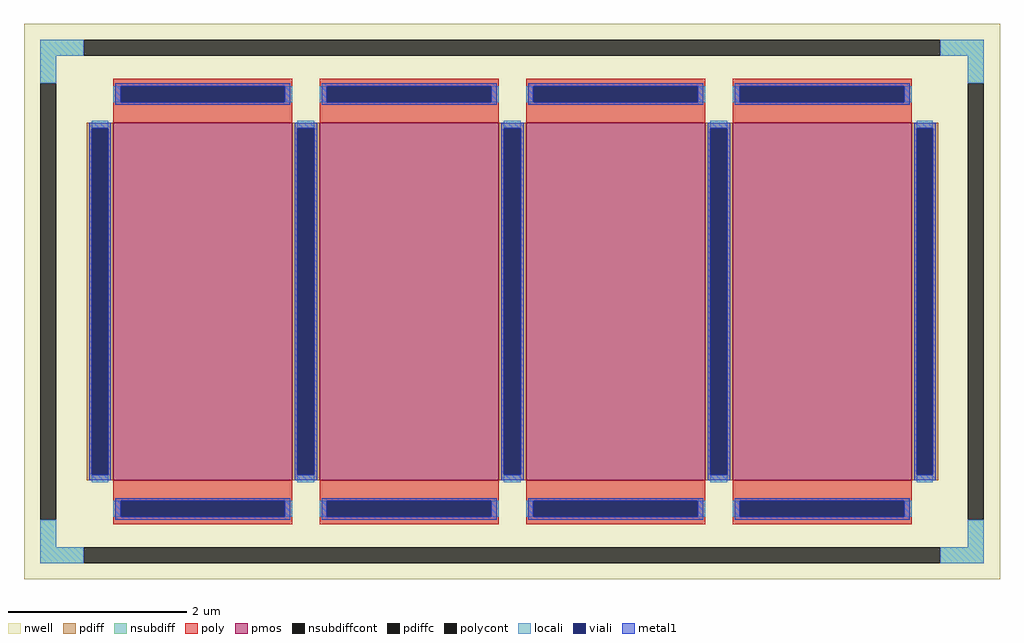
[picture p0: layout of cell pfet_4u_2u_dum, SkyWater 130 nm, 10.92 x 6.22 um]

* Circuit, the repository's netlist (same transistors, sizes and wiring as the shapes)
* NGSPICE file created from pfet_4u_2u_dum.ext - technology: sky130A

.subckt pfet_4u_2u_dum
X0 a_n246_n200# a_n446_n249# a_n476_n200# w_n546_n311# sky130_fd_pr__pfet_01v8 ad=0.62 pd=4.31 as=1.2 ps=8.6 w=4 l=2
X1 a_447_n200# a_247_n249# a_216_n200# w_n546_n311# sky130_fd_pr__pfet_01v8 ad=1.2 pd=8.6 as=0.62 ps=4.31 w=4 l=2
X2 a_216_n200# a_16_n249# a_n15_n200# w_n546_n311# sky130_fd_pr__pfet_01v8 ad=0.62 pd=4.31 as=0.62 ps=4.31 w=4 l=2
X3 a_n15_n200# a_n215_n249# a_n246_n200# w_n546_n311# sky130_fd_pr__pfet_01v8 ad=0.62 pd=4.31 as=0.62 ps=4.31 w=4 l=2
.ends

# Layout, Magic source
magic
tech sky130A
<< nwell >>
rect -546 -311 546 311
<< pmos >>
rect -446 -200 -246 200
rect -215 -200 -15 200
rect 16 -200 216 200
rect 247 -200 447 200
<< pdiff >>
rect -476 194 -446 200
rect -476 -194 -470 194
rect -452 -194 -446 194
rect -476 -200 -446 -194
rect -246 194 -215 200
rect -246 -194 -240 194
rect -221 -194 -215 194
rect -246 -200 -215 -194
rect -15 194 16 200
rect -15 -194 -9 194
rect 10 -194 16 194
rect -15 -200 16 -194
rect 216 194 247 200
rect 216 -194 222 194
rect 241 -194 247 194
rect 216 -200 247 -194
rect 447 194 477 200
rect 447 -194 453 194
rect 471 -194 477 194
rect 447 -200 477 -194
<< pdiffc >>
rect -470 -194 -452 194
rect -240 -194 -221 194
rect -9 -194 10 194
rect 222 -194 241 194
rect 453 -194 471 194
<< nsubdiff >>
rect -528 275 -479 293
rect 479 275 528 293
rect -528 244 -510 275
rect 510 244 528 275
rect -528 -275 -510 -244
rect 510 -275 528 -244
rect -528 -293 -479 -275
rect 479 -293 528 -275
<< nsubdiffcont >>
rect -479 275 479 293
rect -528 -244 -510 244
rect 510 -244 528 244
rect -479 -293 479 -275
<< poly >>
rect -446 241 -246 249
rect -446 223 -438 241
rect -254 223 -246 241
rect -446 200 -246 223
rect -215 241 -15 249
rect -215 223 -207 241
rect -23 223 -15 241
rect -215 200 -15 223
rect 16 241 216 249
rect 16 223 24 241
rect 208 223 216 241
rect 16 200 216 223
rect 247 241 447 249
rect 247 223 255 241
rect 439 223 447 241
rect 247 200 447 223
rect -446 -223 -246 -200
rect -446 -241 -438 -223
rect -254 -241 -246 -223
rect -446 -249 -246 -241
rect -215 -223 -15 -200
rect -215 -241 -207 -223
rect -23 -241 -15 -223
rect -215 -249 -15 -241
rect 16 -223 216 -200
rect 16 -241 24 -223
rect 208 -241 216 -223
rect 16 -249 216 -241
rect 247 -223 447 -200
rect 247 -241 255 -223
rect 439 -241 447 -223
rect 247 -249 447 -241
<< polycont >>
rect -438 223 -254 241
rect -207 223 -23 241
rect 24 223 208 241
rect 255 223 439 241
rect -438 -241 -254 -223
rect -207 -241 -23 -223
rect 24 -241 208 -223
rect 255 -241 439 -223
<< locali >>
rect -528 275 -479 293
rect 479 275 528 293
rect -528 244 -510 275
rect 510 244 528 275
rect -446 223 -438 241
rect -254 223 -246 241
rect -215 223 -207 241
rect -23 223 -15 241
rect 16 223 24 241
rect 208 223 216 241
rect 247 223 255 241
rect 439 223 447 241
rect -470 194 -452 202
rect -470 -202 -452 -194
rect -240 194 -221 202
rect -240 -202 -221 -194
rect -9 194 10 202
rect -9 -202 10 -194
rect 222 194 241 202
rect 222 -202 241 -194
rect 453 194 471 202
rect 453 -202 471 -194
rect -446 -241 -438 -223
rect -254 -241 -246 -223
rect -215 -241 -207 -223
rect -23 -241 -15 -223
rect 16 -241 24 -223
rect 208 -241 216 -223
rect 247 -241 255 -223
rect 439 -241 447 -223
rect -528 -275 -510 -244
rect 510 -275 528 -244
rect -528 -293 -479 -275
rect 479 -293 528 -275
<< viali >>
rect -438 223 -254 241
rect -207 223 -23 241
rect 24 223 208 241
rect 255 223 439 241
rect -470 -194 -452 194
rect -240 -194 -221 194
rect -9 -194 10 194
rect 222 -194 241 194
rect 453 -194 471 194
rect -438 -241 -254 -223
rect -207 -241 -23 -223
rect 24 -241 208 -223
rect 255 -241 439 -223
<< metal1 >>
rect -444 241 -248 244
rect -444 223 -438 241
rect -254 223 -248 241
rect -444 220 -248 223
rect -213 241 -17 244
rect -213 223 -207 241
rect -23 223 -17 241
rect -213 220 -17 223
rect 18 241 214 244
rect 18 223 24 241
rect 208 223 214 241
rect 18 220 214 223
rect 249 241 445 244
rect 249 223 255 241
rect 439 223 445 241
rect 249 220 445 223
rect -473 194 -449 200
rect -473 -194 -470 194
rect -452 -194 -449 194
rect -473 -200 -449 -194
rect -243 194 -218 200
rect -243 -194 -240 194
rect -221 -194 -218 194
rect -243 -200 -218 -194
rect -12 194 13 200
rect -12 -194 -9 194
rect 10 -194 13 194
rect -12 -200 13 -194
rect 219 194 244 200
rect 219 -194 222 194
rect 241 -194 244 194
rect 219 -200 244 -194
rect 450 194 474 200
rect 450 -194 453 194
rect 471 -194 474 194
rect 450 -200 474 -194
rect -444 -223 -248 -220
rect -444 -241 -438 -223
rect -254 -241 -248 -223
rect -444 -244 -248 -241
rect -213 -223 -17 -220
rect -213 -241 -207 -223
rect -23 -241 -17 -223
rect -213 -244 -17 -241
rect 18 -223 214 -220
rect 18 -241 24 -223
rect 208 -241 214 -223
rect 18 -244 214 -241
rect 249 -223 445 -220
rect 249 -241 255 -223
rect 439 -241 445 -223
rect 249 -244 445 -241
<< properties >>
string FIXED_BBOX -519 -284 519 284
<< end >>
